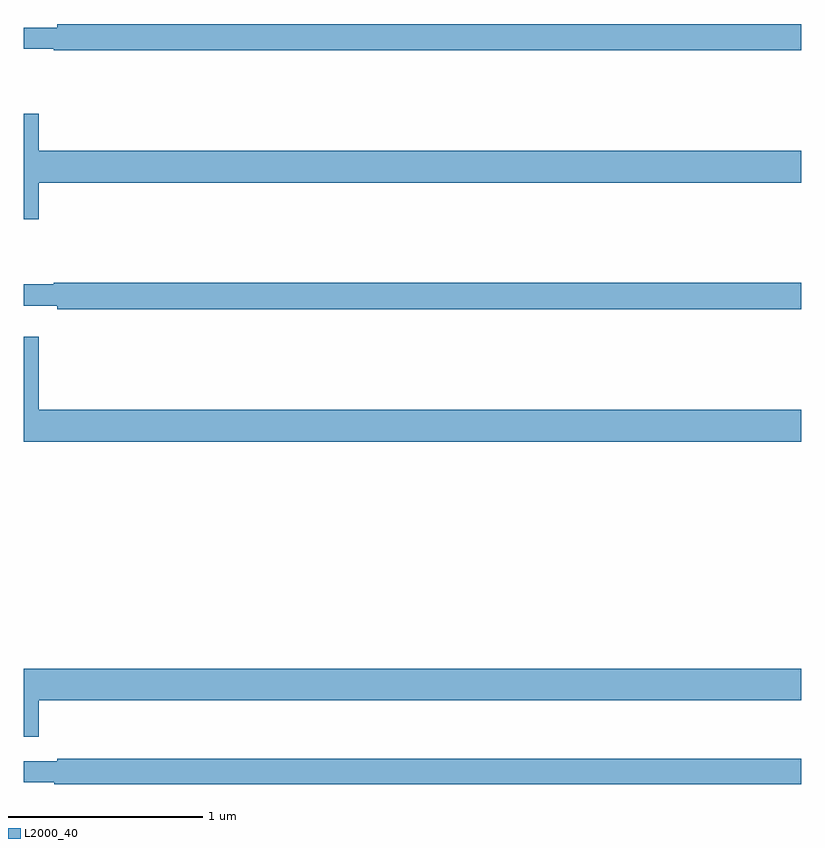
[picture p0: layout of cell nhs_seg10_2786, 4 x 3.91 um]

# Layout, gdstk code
import gdstk
lib = gdstk.Library(unit=1e-6, precision=1e-09)
def P(c, l, *ps):  # polygons
    for p in ps: c.add(gdstk.Polygon(p, *l))
L2000_40 = (2000, 40)

nhs_seg10_2786 = lib.new_cell('nhs_seg10_2786')
P(nhs_seg10_2786, L2000_40, [(265,1326.44),(261.172,1326.44),(261.172,1326.421),(261,1326.421),(261,1326.312),(261.155,1326.312),(261.155,1326.304),(265,1326.304)],
  [(261.076,1325.624),(265,1325.624),(265,1325.788),(261.076,1325.788),(261.076,1325.977),(261,1325.977),(261,1325.436),(261.076,1325.436)],
  [(265,1325.108),(261.155,1325.108),(261.155,1325.101),(261,1325.101),(261,1324.991),(261.172,1324.991),(261.172,1324.972),(265,1324.972)],
  [(265,1324.456),(261.076,1324.456),(261.076,1324.831),(261,1324.831),(261,1324.292),(265,1324.292)],
  [(261.076,1322.96),(265,1322.96),(265,1323.124),(261,1323.124),(261,1322.772),(261.076,1322.772)],
  [(265,1322.659),(261.172,1322.659),(261.172,1322.646),(261,1322.646),(261,1322.538),(261.158,1322.538),(261.158,1322.53),(265,1322.53)])

lib.write_gds('nhs_seg10_2786.gds')
